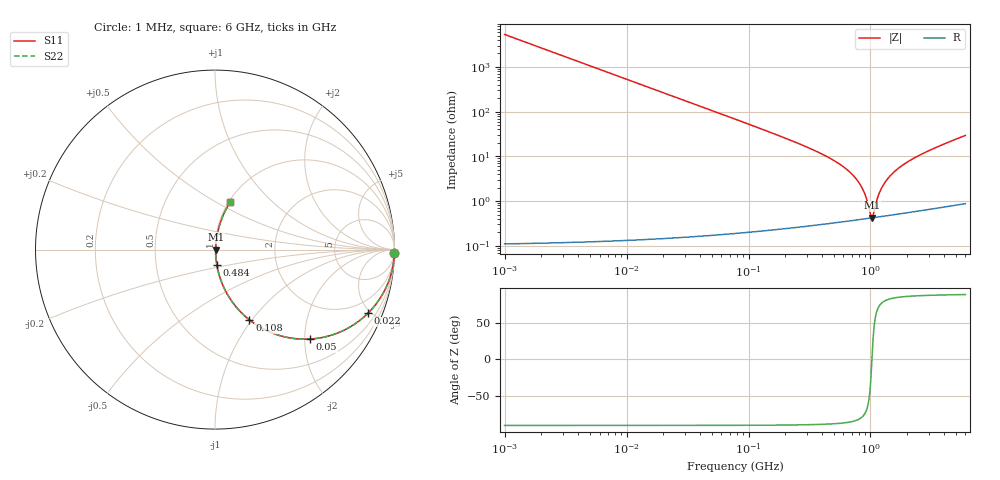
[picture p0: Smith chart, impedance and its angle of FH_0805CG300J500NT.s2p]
! FH 0805CG300J500NT 30 pF 0805 C0G (option: 3rd trap)
! FH publishes no RF data: typical 0805 C0G model, ESL=0.8 nH, ESR=0.10+0.10*sqrt(f/100MHz) ohm
! Generated by make_s2p.py - an estimate, not a measurement
! Series-thru 2-port: part connected between port 1 and port 2.
# Hz S RI R 50
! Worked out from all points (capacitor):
!   1500 points, 1 MHz to 6 GHz, reference 50 ohm
!   read as one part in series: C = 30 pF near 8 MHz
!   lowest |Z| = 422 mohm at 1.03 GHz (marker M1)
!   series resonance near 1.027 GHz, so ESL is about 800 pH
!   S11 on the Smith chart (normalised r, x): 1 MHz: open; 22 MHz: 1.00, -4.82; 50 MHz: 1.00, -2.12; 108 MHz: 1.00, -0.97; 484 MHz: 1.01, -0.17; 6 GHz: 1.02, +0.59
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1000000  0.9996 -0.0188  0.000356 0.0188  0.000356 0.0188  0.9996 -0.0188
3000000  0.9968 -0.0564  0.00319 0.0564  0.00319 0.0564  0.9968 -0.0564
5000000  0.9912 -0.0934  0.00882 0.0934  0.00882 0.0934  0.9912 -0.0934
1.9e7  0.8861 -0.3174  0.1139 0.3174  0.1139 0.3174  0.8861 -0.3174
2.2e7  0.853 -0.3538  0.147 0.3538  0.147 0.3538  0.853 -0.3538
5e7  0.5284 -0.4984  0.4716 0.4984  0.4716 0.4984  0.5284 -0.4984
7.8e7  0.3143 -0.4628  0.6857 0.4628  0.6857 0.4628  0.3143 -0.4628
1.08e8  0.192 -0.3917  0.808 0.3917  0.808 0.3917  0.192 -0.3917
3.31e8  0.0229 -0.14  0.9771 0.14  0.9771 0.14  0.0229 -0.14
4.84e8  0.0103 -0.0841  0.9897 0.0841  0.9897 0.0841  0.0103 -0.0841
6.41e8  0.00604 -0.0501  0.994 0.0501  0.994 0.0501  0.00604 -0.0501
7.81e8  0.00459 -0.0284  0.9954 0.0284  0.9954 0.0284  0.00459 -0.0284
9.04e8  0.00416 -0.0131  0.9958 0.0131  0.9958 0.0131  0.00416 -0.0131
9.52e8  0.00413 -0.00781  0.9959 0.00781  0.9959 0.00781  0.00413 -0.00781
9.98e8  0.00415 -0.00297  0.9958 0.00297  0.9958 0.00297  0.00415 -0.00297
1.03e9  0.00419 0.000265  0.9958 -0.000265  0.9958 -0.000265  0.00419 0.000265
1.08e9  0.00429 0.00512  0.9957 -0.00512  0.9957 -0.00512  0.00429 0.00512
1.22e9  0.00479 0.0177  0.9952 -0.0177  0.9952 -0.0177  0.00479 0.0177
1.41e9  0.00582 0.0329  0.9942 -0.0329  0.9942 -0.0329  0.00582 0.0329
1.74e9  0.00833 0.0562  0.9917 -0.0562  0.9917 -0.0562  0.00833 0.0562
2.33e9  0.0145 0.0924  0.9855 -0.0924  0.9855 -0.0924  0.0145 0.0924
6e9  0.0857 0.2653  0.9143 -0.2653  0.9143 -0.2653  0.0857 0.2653
